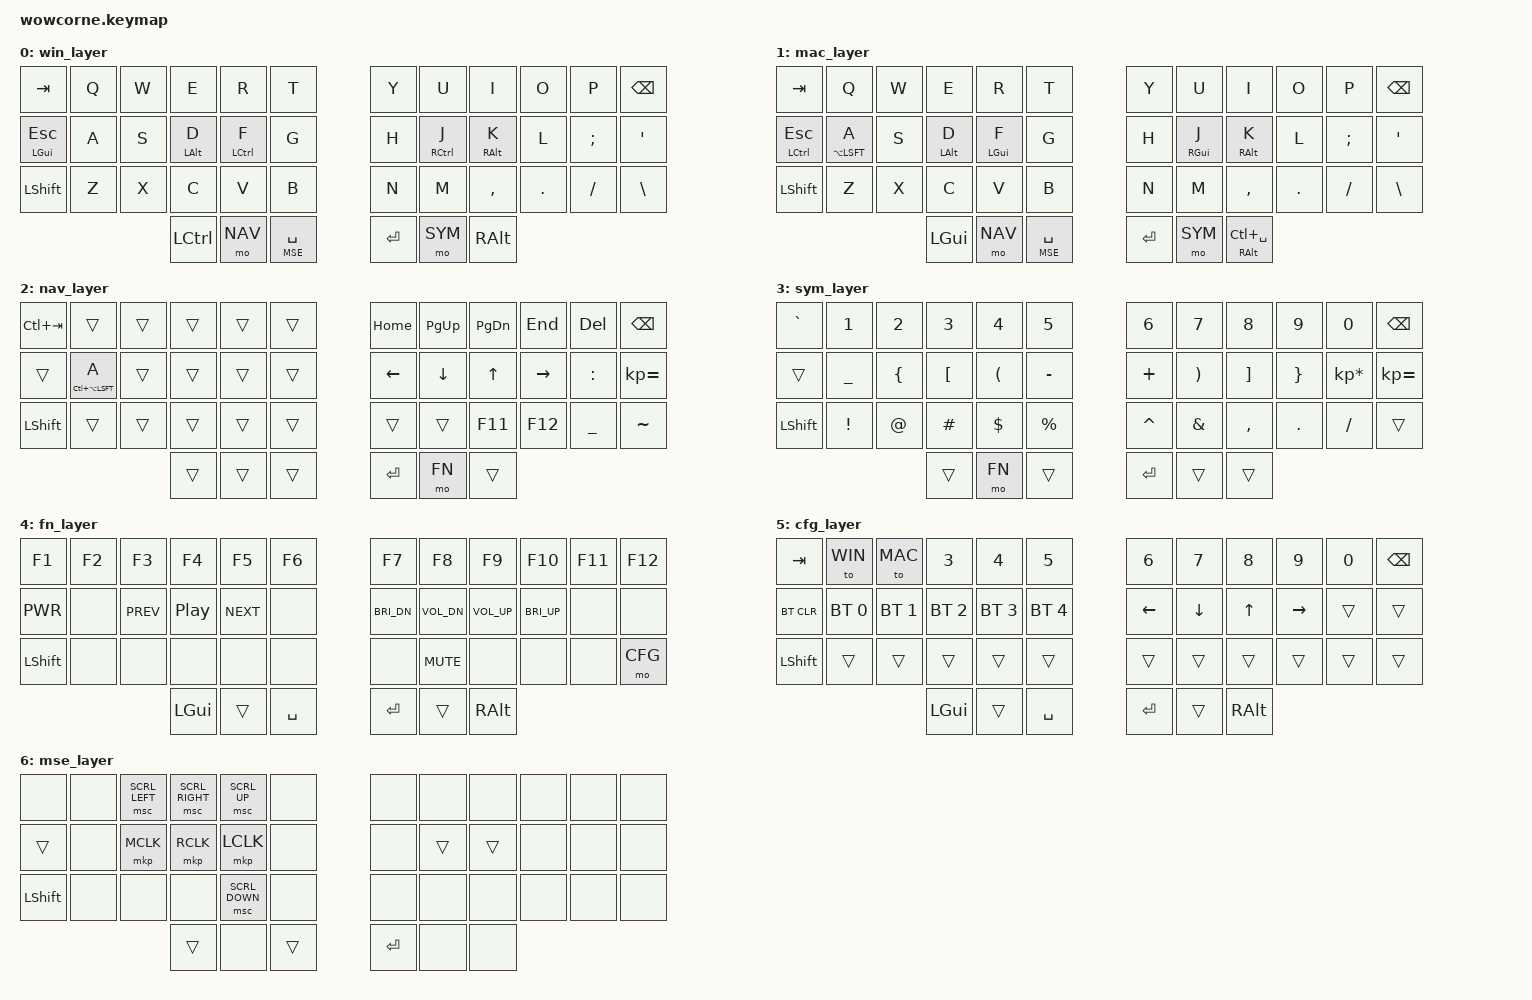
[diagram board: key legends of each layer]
/*
 * Copyright (c) 2020 The ZMK Contributors
 *
 * SPDX-License-Identifier: MIT
 */
#include <dt-bindings/zmk/mouse.h>
#include <behaviors.dtsi>
#include <dt-bindings/zmk/keys.h>
#include <dt-bindings/zmk/bt.h>


#define WIN 0
#define MAC 1
#define NAV 2
#define SYM 3
#define FN 4
#define CFG 5
#define MSE 6

//universial keycodes

#define L_SYM &mo SYM
#define L_FN  &mo FN
#define L_CFG &mo CFG
#define L_NAV &mo NAV
#define TAB_C &kp LC(TAB)

#define LT_SP &lt MSE SPACE

// winos keycodes
#define WHF &hm LCTRL F
#define WHD &hm LALT D
#define WHJ &hm RCTRL J
#define WHK &hm RALT K
#define LANGW &mt RSHFT RALT
#define ESCW &mt LGUI ESC


// macos keycodes
#define MHF &hm LGUI F
#define MHD &hm LALT D
#define MHJ &hm RGUI J
#define MHK &hm RALT K
#define OBS &hm LA(LSFT) A
#define OBS_C &hm LC(LA(LSFT)) A
#define LANGM &mt RALT LC(SPACE)
#define ESCM &mt LCTRL ESC


&mt {
    tapping-term-ms = <125>;
};
/ {
     behaviors {
        hm: homerow_mods {
            compatible = "zmk,behavior-hold-tap";
            #binding-cells = <2>;
            tapping-term-ms = <150>;
            quick-tap-ms = <0>;
            flavor = "tap-preferred";
            bindings = <&kp>, <&kp>;
        };
    };
        keymap {
                compatible = "zmk,keymap";
                win_layer {
// -----------------------------------------------------------------------------------------
// |  TAB |  Q  |  W  |  E  |  R  |  T  |   |  Y  |  U   |  I  |  O  |  P  | BKSP |
// |  ESC |  A  |  S  |  D  |  F  |  G  |   |  H  |  J   |  K  |  L  |  ;  |  '   |
// | SHFT |  Z  |  X  |  C  |  V  |  B  |   |  N  |  M   |  ,  |  .  |  /  | BSLH |
//                    | GUI | LWR | SPC |   | ENT | RSE  | ALT |
                        bindings = <
   &kp TAB   &kp Q &kp W &kp E &kp R &kp T      &kp Y &kp U  &kp I     &kp O   &kp P    &kp BSPC
   ESCW      &kp A &kp S WHD   WHF   &kp G      &kp H WHJ    WHK       &kp L   &kp SEMI &kp SQT
   &kp LSHFT &kp Z &kp X &kp C &kp V &kp B      &kp N &kp M  &kp COMMA &kp DOT &kp FSLH &kp BSLH
                  &kp LCTRL   L_NAV  LT_SP      &kp RET L_SYM &kp RALT
                        >;
                };
                mac_layer {
// -----------------------------------------------------------------------------------------
// |  TAB |  Q  |  W  |  E  |  R  |  T  |   |  Y  |  U   |  I  |  O  |  P  | BKSP |
// |  ESC |  A  |  S  |  D  |  F  |  G  |   |  H  |  J   |  K  |  L  |  ;  |  '   |
// | SHFT |  Z  |  X  |  C  |  V  |  B  |   |  N  |  M   |  ,  |  .  |  /  | BSLH |
//                    | CTL | LWR | SPC |   | ENT | RSE  | ALT |
                        bindings = <
   &kp TAB   &kp Q &kp W &kp E &kp R &kp T      &kp Y &kp U  &kp I     &kp O   &kp P    &kp BSPC
   ESCM      OBS   &kp S MHD   MHF   &kp G      &kp H MHJ    MHK       &kp L   &kp SEMI &kp SQT
   &kp LSHFT &kp Z &kp X &kp C &kp V &kp B      &kp N &kp M  &kp COMMA &kp DOT &kp FSLH &kp BSLH
                   &kp LGUI    L_NAV LT_SP      &kp RET L_SYM LANGM
                        >;
                };
                nav_layer {
// -----------------------------------------------------------------------------------------
// |  TAB |  1  |  2  |  3  |  4  |  5  |   |  6  |  7  |  8  |  9  |  0  | BKSP |
// | BTCLR| BT1 | BT2 | BT3 | BT4 | BT5 |   | LFT | DWN |  UP | RGT |     |      |
// | SHFT |     |     |     |     |     |   |     |     |     |     |     |  ~   |
//                    | GUI |     | SPC |   | ENT |     | ALT |
                        bindings = <
   TAB_C      &trans  &trans         &trans          &trans         &trans              &kp HOME    &kp PG_UP  &kp PG_DN &kp END   &kp DEL &kp BSPC
   &trans     OBS_C   &trans         &trans          &trans         &trans              &kp LEFT   &kp DOWN   &kp UP   &kp RIGHT &kp COLON &kp KP_EQUAL
   &kp LSHFT  &trans  &trans         &trans          &trans         &trans              &trans     &trans     &kp F11  &kp F12   &kp UNDER &kp TILDE
                                     &trans          &trans         &trans              &kp RET    L_FN   &trans
                        >;
                };
                sym_layer {
// -----------------------------------------------------------------------------------------
// |  TAB |  1  |  2  |  3  |  4  |  5  |   |  6  |  7  |  8  |  9  |  0  | BKSP |
// | CTRL |  -  |  {  |  [  |  (  |  _  |   |  *  |  )  |  ]  |  }  |  +  |  =   |
// | SHFT |  !  |  @  |  #  |  $  |  %  |   |  ^  |  &  |  ,  |  ,  |  /  |  `   |
//                    | GUI |     | SPC |   | ENT |     | ALT |
                        bindings = <
   &kp GRAVE   &kp N1   &kp N2 &kp N3   &kp N4    &kp N5     &kp N6    &kp N7    &kp N8           &kp N9    &kp N0    &kp BSPC
   &trans    &kp UNDER    &kp LBRC &kp LBKT   &kp LPAR  &kp MINUS      &kp PLUS     &kp RPAR  &kp RBKT     &kp RBRC  &kp KP_MULTIPLY  &kp KP_EQUAL
   &kp LSHFT &kp EXCL &kp AT &kp HASH &kp DLLR  &kp PRCNT  &kp CARET &kp AMPS  &kp COMMA  &kp DOT &kp FSLH &trans
                              &trans   L_FN     &trans     &kp RET   &trans      &trans
                        >;
                };

                fn_layer {
// -----------------------------------------------------------------------------------------
// |  TAB |  1  |  2  |  3  |  4  |  5  |   |  6  |  7  |  8  |  9  |  0  | BKSP |
// | BTCLR| BT1 | BT2 | BT3 | BT4 | BT5 |   | LFT | DWN |  UP | RGT |     |      |
// | SHFT |     |     |     |     |     |   |     |     |     |     |     |      |
//                    | GUI |     | SPC |   | ENT |     | ALT |
                        bindings = <
   &kp F1    &kp F2   &kp F3     &kp F4   &kp F5      &kp F6        &kp F7       &kp F8       &kp F9       &kp F10      &kp F11 &kp F12
   &kp C_PWR &none    &kp C_PREV &kp C_PP &kp C_NEXT  &none         &kp C_BRI_DN &kp C_VOL_DN &kp C_VOL_UP &kp C_BRI_UP &none   &none
   &kp LSHFT &none    &none      &none    &none       &none         &none        &kp C_MUTE   &none        &none        &none   L_CFG
                                 &kp LGUI &trans      &kp SPACE     &kp RET      &trans       &kp RALT
                        >;
                };
                cfg_layer {
// -----------------------------------------------------------------------------------------
// |  TAB |  1  |  2  |  3  |  4  |  5  |   |  6  |  7  |  8  |  9  |  0  | BKSP |
// | BTCLR| BT1 | BT2 | BT3 | BT4 | BT5 |   | LFT | DWN |  UP | RGT |     |      |
// | SHFT |     |     |     |     |     |   |     |     |     |     |     |      |
//                    | GUI |     | SPC |   | ENT |     | ALT |
                        bindings = <
   &kp TAB    &to WIN      &to MAC      &kp N3       &kp N4       &kp N5         &kp N6   &kp N7   &kp N8 &kp N9    &kp N0 &kp BSPC
   &bt BT_CLR &bt BT_SEL 0 &bt BT_SEL 1 &bt BT_SEL 2 &bt BT_SEL 3 &bt BT_SEL 4   &kp LEFT &kp DOWN &kp UP &kp RIGHT &trans &trans
   &kp LSHFT  &trans       &trans       &trans       &trans       &trans         &trans   &trans   &trans &trans    &trans &trans
                                    &kp LGUI     &trans       &kp SPACE      &kp RET  &trans   &kp RALT
                        >;
                };
                mse_layer {
// -----------------------------------------------------------------------------------------
// |  TAB |  1  |  2  |  3  |  4  |  5  |   |  6  |  7  |  8  |  9  |  0  | BKSP |
// | BTCLR| BT1 | BT2 | BT3 | BT4 | BT5 |   | LFT | DWN |  UP | RGT |     |      |
// | SHFT |     |     |     |     |     |   |     |     |     |     |     |  ~   |
//                    | GUI |     | SPC |   | ENT |     | ALT |
                        bindings = <
   &none      &none   &msc SCRL_LEFT &msc SCRL_RIGHT &msc SCRL_UP   &none               &none   &none      &none    &none   &none &none
   &trans     &none   &mkp MCLK      &mkp RCLK       &mkp LCLK      &none               &none   &trans     &trans   &none   &none &none
   &kp LSHFT  &none   &none          &none           &msc SCRL_DOWN &none               &none   &none      &none    &none   &none &none
                                     &trans          &none          &trans           &kp RET    &none      &none
                        >;
                };
        };
};


